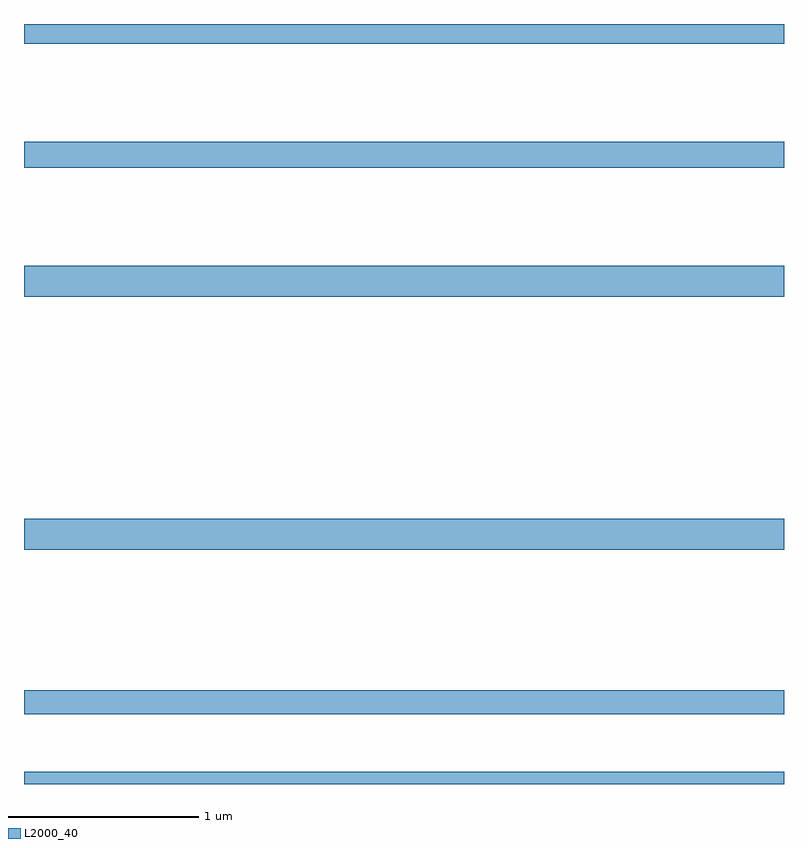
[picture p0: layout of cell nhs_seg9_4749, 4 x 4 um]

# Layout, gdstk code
import gdstk
lib = gdstk.Library(unit=1e-6, precision=1e-09)
def R(c, l, rs):  # rectangles x0, y0, x1, y1
    for r in rs: c.add(gdstk.rectangle(r[:2], r[2:], *l))
L2000_40 = (2000, 40)

nhs_seg9_4749 = lib.new_cell('nhs_seg9_4749')
R(nhs_seg9_4749, L2000_40, [(385,1216.5,389,1216.564), (385,1216.866,389,1216.994), (385,1217.732,389,1217.896), (385,1219.064,389,1219.228), (385,1219.744,389,1219.88), (385,1220.396,389,1220.5)])

lib.write_gds('nhs_seg9_4749.gds')
